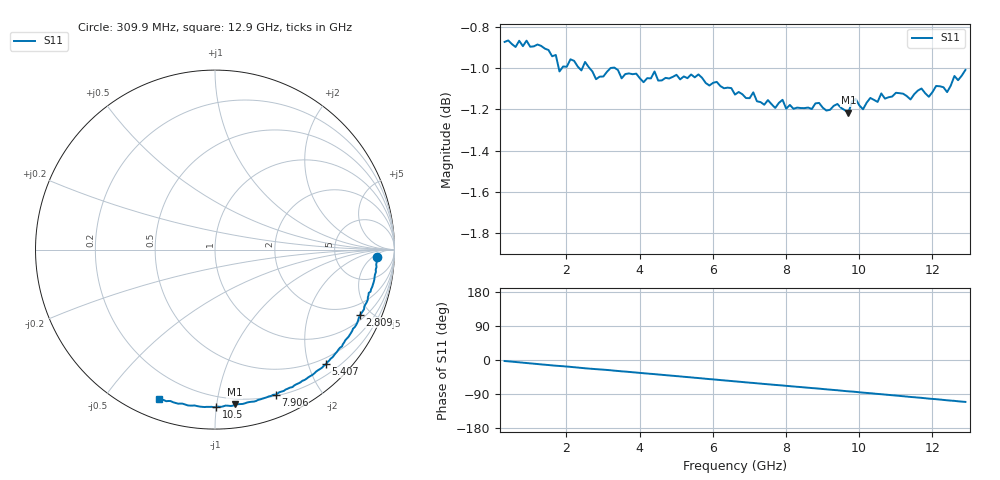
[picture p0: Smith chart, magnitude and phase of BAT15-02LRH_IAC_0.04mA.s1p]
! Infineon Technologies  Discrete & RF Semiconductors
! BAT15-02LRH
! IAC = 0.04 mA
! One-Port S-Parameters
# Hz  S  MA  R  50
!f  S11
!Hz  Mag  Ang
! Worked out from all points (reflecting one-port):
!   127 points, 309.9 MHz to 12.9 GHz, reference 50 ohm
!   lowest |S11| = -1.2 dB at 9.705 GHz (marker M1), VSWR 14.31, Z = 7.96 - j56.2 ohm
!   phase of S11 starts at -3 deg and turns -108 deg over the sweep
!   S11 on the Smith chart (normalised r, x): 309.9 MHz: 16, -8; 2.809 GHz: 1.28, -4.31; 5.407 GHz: 0.38, -2.31; 7.906 GHz: 0.21, -1.48; 10.5 GHz: 0.13, -1.00; 12.9 GHz: 0.09, -0.69
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3.0985e8  0.9045 -2.7
1.2094e9  0.9032 -10.7
1.70915e9  0.8979 -15.1
1.8091e9  0.8897 -15.7
1.90905e9  0.8921 -16.5
2.10895e9  0.8957 -18.1
2.50875e9  0.8944 -21.8
2.8086e9  0.8858 -24.1
3.2084e9  0.8914 -27.1
3.50825e9  0.8862 -29.8
4.4078e9  0.8897 -37.3
5.10745e9  0.8857 -43.3
5.4073e9  0.8882 -45.9
6.10695e9  0.8845 -52.0
6.6067e9  0.8782 -56.4
7.10645e9  0.8793 -60.6
7.90605e9  0.8757 -67.3
8.2059e9  0.8713 -69.9
8.90555e9  0.8741 -75.6
9.70515e9  0.8693 -82.7
9.8051e9  0.8748 -83.3
1.050475e10  0.8746 -89.5
1.10045e10  0.8791 -93.8
1.14043e10  0.8758 -97.5
1.170415e10  0.8812 -99.9
1.24038e10  0.8794 -106.4
1.26037e10  0.8874 -107.8
1.290355e10  0.8904 -110.6
